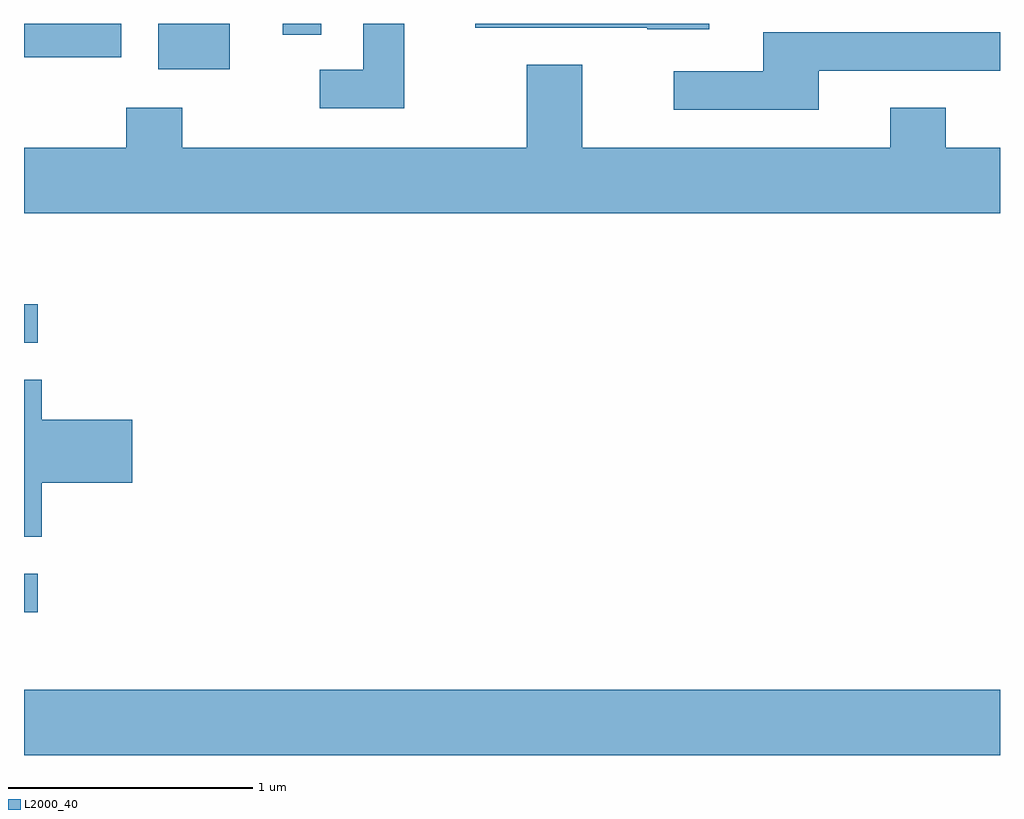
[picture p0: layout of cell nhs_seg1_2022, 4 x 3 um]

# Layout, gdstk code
import gdstk
lib = gdstk.Library(unit=1e-6, precision=1e-09)
def R(c, l, rs):  # rectangles x0, y0, x1, y1
    for r in rs: c.add(gdstk.rectangle(r[:2], r[2:], *l))
def P(c, l, *ps):  # polygons
    for p in ps: c.add(gdstk.Polygon(p, *l))
L2000_40 = (2000, 40)

nhs_seg1_2022 = lib.new_cell('nhs_seg1_2022')
R(nhs_seg1_2022, L2000_40, [(247.611,870.716,251.611,870.984), (247.611,871.301,247.668,871.459), (247.611,872.406,247.668,872.564), (248.161,873.526,248.454,873.712), (247.611,873.576,248.009,873.712), (248.671,873.668,248.829,873.712)])
P(nhs_seg1_2022, L2000_40, [(249.169,873.712),(249.001,873.712),(249.001,873.524),(248.823,873.524),(248.823,873.366),(249.169,873.366)],
  [(250.419,873.712),(249.461,873.712),(249.461,873.696),(250.165,873.696),(250.165,873.691),(250.419,873.691)],
  [(250.869,873.521),(251.611,873.521),(251.611,873.679),(250.641,873.679),(250.641,873.519),(250.273,873.519),(250.273,873.361),(250.869,873.361)],
  [(251.611,873.204),(251.389,873.204),(251.389,873.369),(251.161,873.369),(251.161,873.204),(249.899,873.204),(249.899,873.544),(249.671,873.544),(249.671,873.204),(248.259,873.204),(248.259,873.369),(248.031,873.369),(248.031,873.204),(247.611,873.204),(247.611,872.936),(251.611,872.936)],
  [(247.684,871.831),(248.054,871.831),(248.054,872.089),(247.684,872.089),(247.684,872.254),(247.611,872.254),(247.611,871.611),(247.684,871.611)])

lib.write_gds('nhs_seg1_2022.gds')
